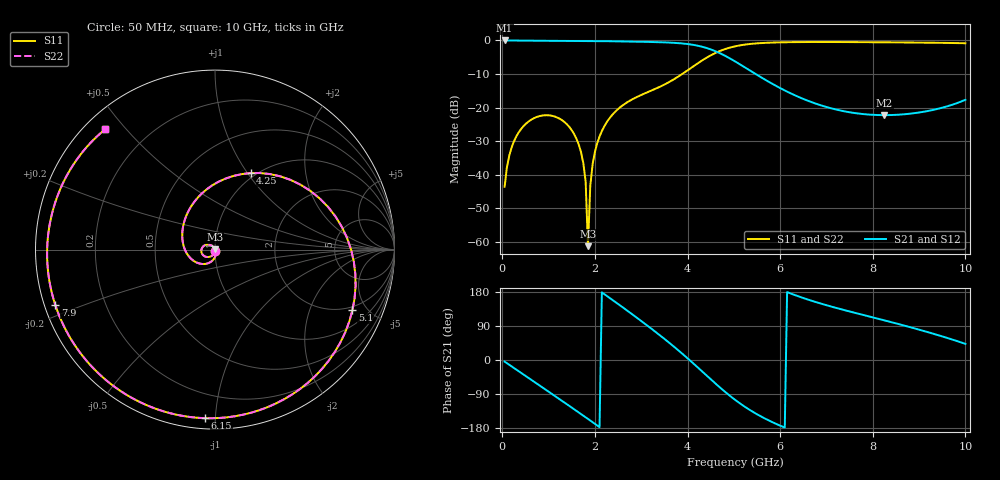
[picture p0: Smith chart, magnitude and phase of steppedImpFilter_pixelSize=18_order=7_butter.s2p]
! freq	dB(S11)	phase(S11)	dB(S12)	phase(S12)
!  dB(S21)	phase(S21)	dB(S22)	phase(S22)
!S-par simulation data
#  GHz  S  DB  R 50
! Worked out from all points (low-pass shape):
!   200 points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, 50 MHz to 10 GHz, reference 50 ohm
!   highest |S21| = -0.01 dB at 50 MHz (marker M1); lowest = -22.3 dB at 8.25 GHz (marker M2)
!   |S21| within 3 dB of the highest: start of sweep to 4.565 GHz
!   lowest |S11| = -61.3 dB at 1.85 GHz (marker M3), VSWR 1.00, Z = 50 + j0.083 ohm
!   |S11| at or under -10 dB: start of sweep to 3.885 GHz
!   |S22| runs from -62.0 to -0.5 dB; largest |S21 - S12| = 0
!   S11 on the Smith chart (normalised r, x): 50 MHz: 1.00, -0.01; 4.25 GHz: 0.95, +1.03; 5.1 GHz: 1.78, -4.00; 6.15 GHz: 0.06, -0.94; 7.9 GHz: 0.03, -0.17; 10 GHz: 0.06, +0.44
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0.05  -43.63 -91.5  -0.01 -4.3  -0.01 -4.3  -43.63 -91.5
0.3  -28.69 -115.6  -0.04 -25.2  -0.04 -25.2  -28.69 -115.6
0.8  -22.57 -158.1  -0.10 -66.8  -0.10 -66.8  -22.57 -158.1
1.4  -25.07 151.2  -0.14 -117.1  -0.14 -117.1  -25.06 151.3
1.75  -36.59 120.3  -0.16 -146.9  -0.16 -146.9  -36.59 121.0
1.8  -42.16 114.7  -0.16 -151.2  -0.16 -151.2  -42.17 116.0
1.85  -61.34 75.3  -0.17 -155.5  -0.17 -155.5  -61.95 85.9
1.9  -43.37 -67.9  -0.17 -159.8  -0.17 -159.8  -43.39 -69.5
1.95  -36.93 -73.9  -0.18 -164.1  -0.18 -164.1  -36.93 -74.7
2.15  -27.02 -92.3  -0.21 178.5  -0.21 178.5  -27.02 -92.6
2.85  -17.24 -154.6  -0.36 116.6  -0.36 116.6  -17.24 -154.7
3.4  -13.84 153.9  -0.53 65.5  -0.53 65.5  -13.84 153.9
3.85  -10.32 108.5  -0.86 20.5  -0.86 20.5  -10.32 108.5
4.25  -6.55 65.0  -1.66 -22.8  -1.66 -22.8  -6.55 65.1
5.05  -1.69 -19.3  -6.44 -107.3  -6.44 -107.3  -1.69 -19.2
5.1  -1.55 -23.7  -6.86 -111.7  -6.86 -111.7  -1.55 -23.7
6.15  -0.53 -93.4  -15.26 179.2  -15.26 179.2  -0.53 -93.4
6.7  -0.47 -118.2  -18.51 155.5  -18.51 155.5  -0.47 -118.1
7.9  -0.52 -160.9  -22.09 115.5  -22.09 115.5  -0.52 -160.9
8.25  -0.55 -171.9  -22.27 104.6  -22.27 104.6  -0.55 -171.9
8.35  -0.56 -175.1  -22.26 101.5  -22.26 101.5  -0.56 -175.0
10  -0.84 132.4  -17.69 42.5  -17.69 42.5  -0.84 132.4
